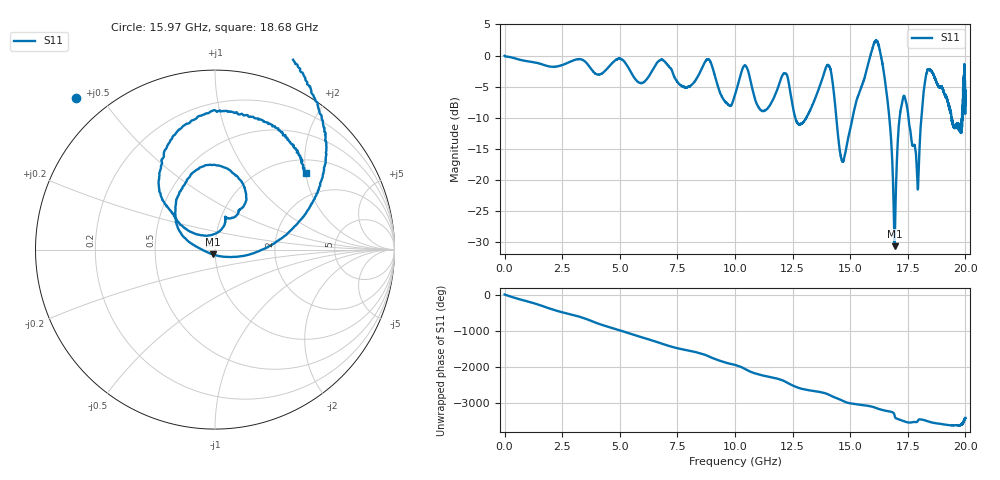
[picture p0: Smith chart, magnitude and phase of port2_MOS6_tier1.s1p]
! Created with skrf 1.8.0 (http://scikit-rf.org).
# GHz S RI R 50.0
!freq ReS11 ImS11
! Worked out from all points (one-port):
!   10001 points, 1 MHz to 20 GHz, reference 50 ohm
!   lowest |S11| = -30.7 dB at 16.93 GHz (marker M1), VSWR 1.06, Z = 48.7 - j2.58 ohm
!   |S11| at or under -10 dB: 12.62 GHz to 13.09 GHz (475.8 MHz wide, 3.7 % of centre); 14.4 GHz to 15.1 GHz (706.3 MHz wide, 4.79 % of centre); 17.53 GHz to 18.09 GHz (561.2 MHz wide, 3.15 % of centre) (the widest 3 of 8)
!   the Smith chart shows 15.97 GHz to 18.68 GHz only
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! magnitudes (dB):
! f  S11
! 1 MHz  0.0
! 2.501 GHz  -1.5
! 5.001 GHz  -0.5
! 5.857 GHz  -4.4
! 6.805 GHz  -0.7
! 7.501 GHz  -4.3
! 8.835 GHz  -0.6
! 9.537 GHz  -7.2
! 10 GHz  -6.3
! 10.44 GHz  -1.6
! 11.12 GHz  -8.8
! 12.15 GHz  -2.8
! 12.5 GHz  -8.0
! 12.96 GHz  -10.7
! 14.05 GHz  -1.6
! 14.62 GHz  -16.7
! 15 GHz  -11.8
! 16.17 GHz  2.3
! 16.63 GHz  -7.5
! 16.93 GHz  -30.7
! 17.2 GHz  -8.5
! 17.5 GHz  -9.0
! 17.91 GHz  -20.5
! 18.2 GHz  -5.5
! 18.38 GHz  -2.3
! 19.54 GHz  -11.6
! 19.77 GHz  -11.6
! 20 GHz  -8.0
